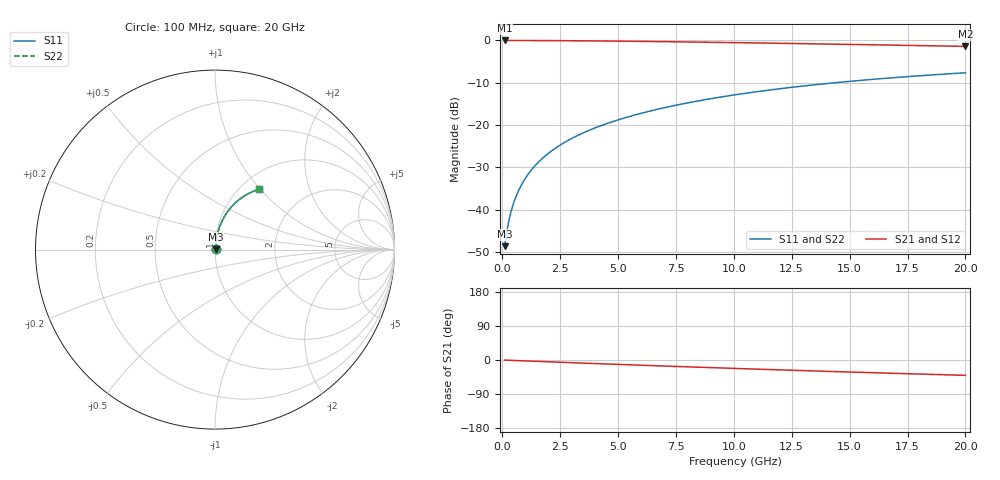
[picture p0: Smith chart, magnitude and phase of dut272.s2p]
! Touchstone file exported from HFSS 2024.1.0
!  File:  C:/UserFiles/LocalFiles/RDL_TSV_Batchsim/temp_RDL_top_272_1778689714.aedt
!  Generated:  12:30:45 AM May 14, 2026
!  Design:  RDL_top
!  Project:  temp_RDL_top_272_1778689714
!  Setup:  Setup1
!  Solution:  Sweep
! Variables:
!  dtsv = 10.80580581um
!  hbump = 3um
!  htsv = 83.62um
!  ldown = 100um
!  lrdl = 559.77um
!  p = 40
!  p1 = 46.71um
!  rhole = 1um
!  t = 450um
!  tdown = 3.915915916um
!  trdl = 4.98um
!  wdown = 15.38538539um
!  wrdl = 14.61um
# GHz S MA R 50.000000
! Terminal data exported
! Port[1] = Box2_T1
! Port[2] = Box2_T2
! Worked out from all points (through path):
!   200 points, 100 MHz to 20 GHz, reference 50 ohm
!   highest |S21| = -0.02 dB at 100 MHz (marker M1); lowest = -1.4 dB at 20 GHz (marker M2)
!   group delay of S21, straight-line fit = 5.6 ps
!   lowest |S11| = -48.6 dB at 100 MHz (marker M3), VSWR 1.01, Z = 50.3 + j0.246 ohm
!   |S11| at or under -10 dB: start of sweep to 14.36 GHz
!   |S22| runs from -48.6 to -7.7 dB; largest |S21 - S12| = 5e-15
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0.1  0.003729 41.0  0.9972 -0.2  0.9972 -0.2  0.003729 41.0
! Gamma 0 0 0 0
! Port Impedance 50 0 50 0
0.2  0.005656 58.9  0.9971 -0.5  0.9971 -0.5  0.005656 58.9
0.3  0.007812 67.1  0.9969 -0.7  0.9969 -0.7  0.007812 67.1
0.4  0.01003 71.6  0.9968 -1.0  0.9968 -1.0  0.01003 71.6
0.5  0.01227 74.5  0.9967 -1.2  0.9967 -1.2  0.01227 74.5
0.6  0.01452 76.4  0.9966 -1.4  0.9966 -1.4  0.01452 76.4
0.8  0.01907 78.9  0.9963 -1.9  0.9963 -1.9  0.01907 78.9
1.1  0.02594 80.8  0.9958 -2.6  0.9958 -2.6  0.02594 80.8
1.5  0.03515 81.9  0.9949 -3.6  0.9949 -3.6  0.03515 81.9
1.8  0.04206 82.2  0.9941 -4.3  0.9941 -4.3  0.04206 82.2
2.1  0.04897 82.3  0.9932 -5.0  0.9932 -5.0  0.04897 82.3
2.7  0.06277 82.1  0.991 -6.4  0.991 -6.4  0.06277 82.1
3.5  0.0811 81.3  0.9874 -8.2  0.9874 -8.2  0.0811 81.3
4.2  0.09709 80.5  0.9837 -9.8  0.9837 -9.8  0.09709 80.5
5  0.1153 79.4  0.9789 -11.6  0.9789 -11.6  0.1153 79.4
5.9  0.1357 78.1  0.973 -13.6  0.973 -13.6  0.1357 78.1
6.8  0.156 76.7  0.9666 -15.6  0.9666 -15.6  0.156 76.7
8.4  0.1917 74.0  0.9543 -18.9  0.9543 -18.9  0.1918 74.1
10.1  0.2289 71.1  0.9402 -22.4  0.9402 -22.4  0.2289 71.1
13.4  0.2974 65.3  0.9107 -28.8  0.9107 -28.8  0.2975 65.3
16.7  0.3595 59.5  0.8797 -34.8  0.8797 -34.8  0.3596 59.5
20  0.4143 54.0  0.8485 -40.4  0.8485 -40.4  0.4144 54.0
